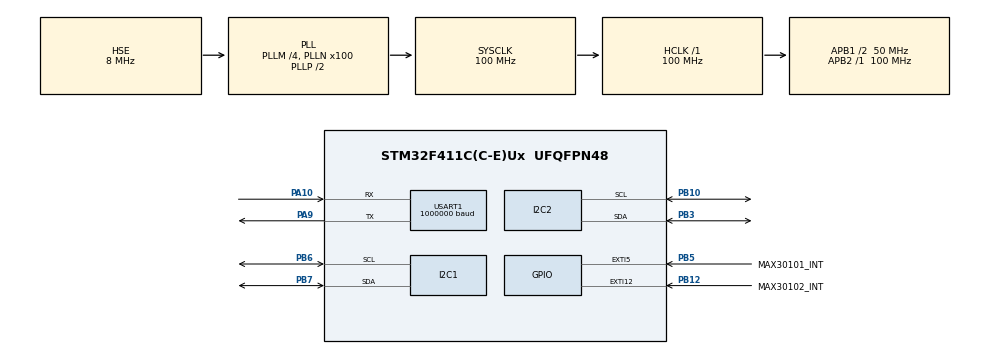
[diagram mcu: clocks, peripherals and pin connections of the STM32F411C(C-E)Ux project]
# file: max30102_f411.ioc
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Dma.Request0=USART1_TX
Dma.USART1_TX.0.Direction=DMA_MEMORY_TO_PERIPH
Dma.USART1_TX.0.FIFOMode=DMA_FIFOMODE_DISABLE
Dma.USART1_TX.0.Instance=DMA2_Stream7
Dma.USART1_TX.0.MemDataAlignment=DMA_MDATAALIGN_BYTE
Dma.USART1_TX.0.MemInc=DMA_MINC_ENABLE
Dma.USART1_TX.0.Mode=DMA_NORMAL
Dma.USART1_TX.0.PeriphDataAlignment=DMA_PDATAALIGN_BYTE
Dma.USART1_TX.0.PeriphInc=DMA_PINC_DISABLE
Dma.USART1_TX.0.Priority=DMA_PRIORITY_HIGH
I2C1.I2C_Mode=I2C_Fast
I2C2.I2C_Mode=I2C_Fast
Mcu.Family=STM32F4
Mcu.Name=STM32F411C(C-E)Ux
Mcu.Package=UFQFPN48
NVIC.DMA2_Stream7_IRQn=true\:0\:0\:false\:false\:true\:false\:true\:true
NVIC.EXTI15_10_IRQn=true\:0\:0\:false\:false\:true\:true\:true\:true
NVIC.EXTI9_5_IRQn=true\:0\:0\:false\:false\:true\:true\:true\:true
NVIC.PriorityGroup=NVIC_PRIORITYGROUP_4
NVIC.TIM1_TRG_COM_TIM11_IRQn=true\:0\:0\:false\:false\:true\:true\:true\:true
NVIC.USART1_IRQn=true\:0\:0\:false\:false\:true\:true\:true\:true
PA10.Mode=Asynchronous
PA10.Signal=USART1_RX
PA13.Mode=Serial_Wire
PA13.Signal=SYS_JTMS-SWDIO
PA14.Mode=Serial_Wire
PA14.Signal=SYS_JTCK-SWCLK
PA9.Mode=Asynchronous
PA9.Signal=USART1_TX
PB10.Mode=I2C
PB10.Signal=I2C2_SCL
PB12.GPIO_Label=MAX30102_INT
PB12.GPIO_ModeDefaultEXTI=GPIO_MODE_IT_FALLING
PB12.GPIO_PuPd=GPIO_PULLUP
PB12.Signal=GPXTI12
PB3.Mode=I2C
PB3.Signal=I2C2_SDA
PB5.GPIO_Label=MAX30101_INT
PB5.GPIO_ModeDefaultEXTI=GPIO_MODE_IT_FALLING
PB5.GPIO_PuPd=GPIO_PULLUP
PB5.Signal=GPXTI5
PB6.Mode=I2C
PB6.Signal=I2C1_SCL
PB7.Mode=I2C
PB7.Signal=I2C1_SDA
PH0\ -\ OSC_IN.Mode=HSE-External-Oscillator
PH0\ -\ OSC_IN.Signal=RCC_OSC_IN
PH1\ -\ OSC_OUT.Mode=HSE-External-Oscillator
PH1\ -\ OSC_OUT.Signal=RCC_OSC_OUT
ProjectManager.HeapSize=0x200
ProjectManager.StackSize=0x400
ProjectManager.TargetToolchain=STM32CubeIDE
RCC.48MHZClocksFreq_Value=50000000
RCC.AHBFreq_Value=100000000
RCC.APB1CLKDivider=RCC_HCLK_DIV2
RCC.APB1Freq_Value=50000000
RCC.APB1TimFreq_Value=100000000
RCC.APB2Freq_Value=100000000
RCC.APB2TimFreq_Value=100000000
RCC.CortexFreq_Value=100000000
RCC.HCLKFreq_Value=100000000
RCC.HSE_VALUE=8000000
RCC.HSI_VALUE=16000000
RCC.LSE_VALUE=32768
RCC.PLLM=4
RCC.PLLN=100
RCC.PLLSourceVirtual=RCC_PLLSOURCE_HSE
RCC.SYSCLKFreq_VALUE=100000000
RCC.SYSCLKSource=RCC_SYSCLKSOURCE_PLLCLK
RCC.VCOOutputFreq_Value=200000000
TIM10.Prescaler=9999
TIM11.Period=10000-1
TIM11.Prescaler=10000-1
USART1.BaudRate=1000000
USART1.VirtualMode=VM_ASYNC
VP_TIM10_VS_ClockSourceINT.Mode=Enable_Timer
VP_TIM11_VS_ClockSourceINT.Mode=Enable_Timer
board=custom

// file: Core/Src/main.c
/* USER CODE BEGIN Header */
/**
  ******************************************************************************
  * @file           : main.c
  * @brief          : Main program body
  ******************************************************************************
  * @attention
  *
  * Copyright (c) 2024 STMicroelectronics.
  * All rights reserved.
  *
  * This software is licensed under terms that can be found in the LICENSE file
  * in the root directory of this software component.
  * If no LICENSE file comes with this software, it is provided AS-IS.
  *
  ******************************************************************************
  */
/* USER CODE END Header */
#include "main.h"
#include "dma.h"
#include "i2c.h"
#include "tim.h"
#include "usart.h"
#include "gpio.h"

/* USER CODE BEGIN Includes */
#include "stdbool.h"
#include "stdio.h"
#include "MAX3010x.h"
/* USER CODE END Includes */

/* USER CODE BEGIN PV */
volatile bool Flag = false;    //启动标记
uint8_t Receive_Flag = 0;	// 接收信息判断
int timer_counts = 0;
/* USER CODE END PV */

void SystemClock_Config(void);

int main(void)
{

  /* MCU Configuration--------------------------------------------------------*/

  /* Reset of all peripherals, Initializes the Flash interface and the Systick. */
  HAL_Init();

  /* Configure the system clock */
  SystemClock_Config();

  /* Initialize all configured peripherals */
  MX_GPIO_Init();
  MX_DMA_Init();
  MX_I2C1_Init();
  MX_I2C2_Init();
  MX_TIM10_Init();
  MX_USART1_UART_Init();
  MX_TIM11_Init();
  /* USER CODE BEGIN 2 */
	HAL_Delay(1000);

	printf("start init\r\n");
	HAL_UART_Receive_IT(&huart1, &Receive_Flag, 1);	// 启动接收中断

	// 初始化
	max30102s_Init(&hi2c1);
	printf("1\r\n");
	Max30102_Init(&hi2c2);
	printf("2\r\n");

	__HAL_TIM_CLEAR_IT(&htim11, TIM_IT_UPDATE);	// 清除时钟更新中断标志
	printf("3\r\n");

	printf("Initialization complete \r\n");
  /* USER CODE END 2 */

  /* Infinite loop */
  while (1)
  {

    /* USER CODE BEGIN 3 */
		if (Flag)	// 检测启动标志为 ture
		{

			Max30102_Task();
			max30102s_Task();
//			delay_s(1);
		}
  }
  /* USER CODE END 3 */
}

void SystemClock_Config(void)
{
  RCC_OscInitTypeDef RCC_OscInitStruct = {0};
  RCC_ClkInitTypeDef RCC_ClkInitStruct = {0};

  /** Configure the main internal regulator output voltage
  */
  __HAL_RCC_PWR_CLK_ENABLE();
  __HAL_PWR_VOLTAGESCALING_CONFIG(PWR_REGULATOR_VOLTAGE_SCALE1);

  /** Initializes the RCC Oscillators according to the specified parameters
  * in the RCC_OscInitTypeDef structure.
  */
  RCC_OscInitStruct.OscillatorType = RCC_OSCILLATORTYPE_HSE;
  RCC_OscInitStruct.HSEState = RCC_HSE_ON;
  RCC_OscInitStruct.PLL.PLLState = RCC_PLL_ON;
  RCC_OscInitStruct.PLL.PLLSource = RCC_PLLSOURCE_HSE;
  RCC_OscInitStruct.PLL.PLLM = 4;
  RCC_OscInitStruct.PLL.PLLN = 100;
  RCC_OscInitStruct.PLL.PLLP = RCC_PLLP_DIV2;
  RCC_OscInitStruct.PLL.PLLQ = 4;
  if (HAL_RCC_OscConfig(&RCC_OscInitStruct) != HAL_OK)
  {
    Error_Handler();
  }

  /** Initializes the CPU, AHB and APB buses clocks
  */
  RCC_ClkInitStruct.ClockType = RCC_CLOCKTYPE_HCLK|RCC_CLOCKTYPE_SYSCLK
                              |RCC_CLOCKTYPE_PCLK1|RCC_CLOCKTYPE_PCLK2;
  RCC_ClkInitStruct.SYSCLKSource = RCC_SYSCLKSOURCE_PLLCLK;
  RCC_ClkInitStruct.AHBCLKDivider = RCC_SYSCLK_DIV1;
  RCC_ClkInitStruct.APB1CLKDivider = RCC_HCLK_DIV2;
  RCC_ClkInitStruct.APB2CLKDivider = RCC_HCLK_DIV1;

  if (HAL_RCC_ClockConfig(&RCC_ClkInitStruct, FLASH_LATENCY_3) != HAL_OK)
  {
    Error_Handler();
  }
}

/* USER CODE BEGIN 4 */
void HAL_GPIO_EXTI_Callback(uint16_t GPIO_Pin) {
	if (GPIO_Pin == MAX30101_INT_Pin) {
		max30102s_InterruptCallback();
	}
	if (GPIO_Pin == MAX30102_INT_Pin) {
		Max30102_InterruptCallback();
	}
}

// 串口中断回调函数
void HAL_UART_RxCpltCallback(UART_HandleTypeDef *huart) {
	if (huart->Instance == USART1) {
		if (0xAA == Receive_Flag) {
			Flag = true;	// 置位 传感器启动标志
			Receive_Flag = 0;	// 复位 接收标志
			HAL_TIM_Base_Start_IT(&htim11);	// 在中断方式下启动定时器 11（单次记时间1s）
		}
		HAL_UART_Receive_IT(huart, &Receive_Flag, 1);	// 重新使能接收中断，准备下一次接收
	}
}

// 定时器更新中断回调函数
void HAL_TIM_PeriodElapsedCallback(TIM_HandleTypeDef *htim) {
	if (htim -> Instance == TIM11)	//判断发送更新中断的定时器
	{
		timer_counts++;
	}
	if (60 == timer_counts)			// 达到60s， 1分钟
	{
		__HAL_TIM_CLEAR_IT(&htim11, TIM_IT_UPDATE);	// 清除时钟更新中断标志
		HAL_TIM_Base_Stop_IT(&htim11);
		timer_counts = 0;
		Flag = false;
	}
}
/* USER CODE END 4 */

void Error_Handler(void)
{
  __disable_irq();
  while (1)
  {
  }
}
